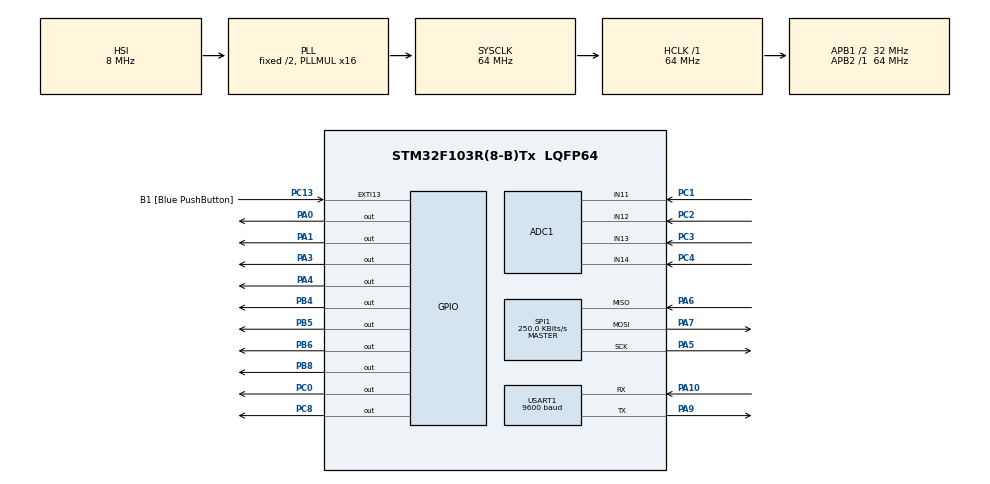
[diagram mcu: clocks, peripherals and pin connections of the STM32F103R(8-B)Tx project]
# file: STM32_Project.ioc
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ADC1.Channel-1\#ChannelRegularConversion=ADC_CHANNEL_11
ADC1.Channel-2\#ChannelRegularConversion=ADC_CHANNEL_12
ADC1.Channel-3\#ChannelRegularConversion=ADC_CHANNEL_13
ADC1.Channel-4\#ChannelRegularConversion=ADC_CHANNEL_14
ADC1.ContinuousConvMode=ENABLE
ADC1.NbrOfConversion=4
ADC1.NbrOfConversionFlag=1
ADC1.Rank-1\#ChannelRegularConversion=1
ADC1.Rank-2\#ChannelRegularConversion=2
ADC1.Rank-3\#ChannelRegularConversion=3
ADC1.Rank-4\#ChannelRegularConversion=4
ADC1.SamplingTime-1\#ChannelRegularConversion=ADC_SAMPLETIME_13CYCLES_5
ADC1.SamplingTime-2\#ChannelRegularConversion=ADC_SAMPLETIME_13CYCLES_5
ADC1.SamplingTime-3\#ChannelRegularConversion=ADC_SAMPLETIME_13CYCLES_5
ADC1.SamplingTime-4\#ChannelRegularConversion=ADC_SAMPLETIME_13CYCLES_5
ADC1.master=1
Mcu.Family=STM32F1
Mcu.Name=STM32F103R(8-B)Tx
Mcu.Package=LQFP64
NVIC.EXTI15_10_IRQn=true\:0\:0\:false\:false\:true\:true\:true\:true
NVIC.PriorityGroup=NVIC_PRIORITYGROUP_4
PA0-WKUP.Signal=GPIO_Output
PA1.Signal=GPIO_Output
PA10.Mode=Asynchronous
PA10.Signal=USART1_RX
PA13.GPIO_Label=TMS
PA13.Mode=Serial_Wire
PA13.Signal=SYS_JTMS-SWDIO
PA14.GPIO_Label=TCK
PA14.Mode=Serial_Wire
PA14.Signal=SYS_JTCK-SWCLK
PA3.Signal=GPIO_Output
PA4.Signal=GPIO_Output
PA5.Mode=Full_Duplex_Master
PA5.Signal=SPI1_SCK
PA6.Mode=Full_Duplex_Master
PA6.Signal=SPI1_MISO
PA7.Mode=Full_Duplex_Master
PA7.Signal=SPI1_MOSI
PA9.Mode=Asynchronous
PA9.Signal=USART1_TX
PB3.GPIO_Label=SWO
PB3.Signal=SYS_JTDO-TRACESWO
PB4.Signal=GPIO_Output
PB5.Signal=GPIO_Output
PB6.Signal=GPIO_Output
PB8.Signal=GPIO_Output
PC0.Signal=GPIO_Output
PC1.Signal=ADCx_IN11
PC13-TAMPER-RTC.GPIO_Label=B1 [Blue PushButton]
PC13-TAMPER-RTC.GPIO_PuPd=GPIO_NOPULL
PC13-TAMPER-RTC.Signal=GPXTI13
PC14-OSC32_IN.Mode=LSE-External-Oscillator
PC14-OSC32_IN.Signal=RCC_OSC32_IN
PC15-OSC32_OUT.Mode=LSE-External-Oscillator
PC15-OSC32_OUT.Signal=RCC_OSC32_OUT
PC2.Signal=ADCx_IN12
PC3.Signal=ADCx_IN13
PC4.Signal=ADCx_IN14
PC8.Signal=GPIO_Output
PD0-OSC_IN.Mode=HSE-External-Clock-Source
PD0-OSC_IN.Signal=RCC_OSC_IN
PD1-OSC_OUT.Mode=HSE-External-Clock-Source
PD1-OSC_OUT.Signal=RCC_OSC_OUT
ProjectManager.HeapSize=0x200
ProjectManager.StackSize=0x400
ProjectManager.TargetToolchain=STM32CubeIDE
RCC.ADCPresc=RCC_ADCPCLK2_DIV8
RCC.AHBFreq_Value=64000000
RCC.APB1CLKDivider=RCC_HCLK_DIV2
RCC.APB1Freq_Value=32000000
RCC.APB1TimFreq_Value=64000000
RCC.APB2Freq_Value=64000000
RCC.APB2TimFreq_Value=64000000
RCC.HCLKFreq_Value=64000000
RCC.PLLMUL=RCC_PLL_MUL16
RCC.RTCClockSelection=RCC_RTCCLKSOURCE_LSE
RCC.SYSCLKFreq_VALUE=64000000
RCC.SYSCLKSource=RCC_SYSCLKSOURCE_PLLCLK
RCC.USBFreq_Value=64000000
SH.ADCx_IN11.0=ADC1_IN11,IN11
SH.ADCx_IN12.0=ADC1_IN12,IN12
SH.ADCx_IN13.0=ADC1_IN13,IN13
SH.ADCx_IN14.0=ADC1_IN14,IN14
SPI1.BaudRatePrescaler=SPI_BAUDRATEPRESCALER_256
SPI1.CalculateBaudRate=250.0 KBits/s
SPI1.Direction=SPI_DIRECTION_2LINES
SPI1.Mode=SPI_MODE_MASTER
SPI1.VirtualType=VM_MASTER
USART1.BaudRate=9600
USART1.VirtualMode=VM_ASYNC
board=NUCLEO-F103RB

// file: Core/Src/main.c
/* USER CODE BEGIN Header */
/**
* main.c
*
* DESCRIPTION:
* This program is responsible for receiving wireless communication data from the
* wearable vitals monitor, as well as sweeping the 7x4 pressure sensor array
* using the on-board ADC. Once all of this data is collected, the program
* organizes the data and transmits it over UART to the Raspberry Pi.
*
* AUTHOR: Ayden Mack 200405410
*/
/* USER CODE END Header */
#include "main.h"

/* USER CODE BEGIN Includes */
#include "usr/nRF24L01.h"
#include "usr/adc.h"
#include "usr/gpio.h"
/* USER CODE END Includes */

 ADC_HandleTypeDef hadc1;

SPI_HandleTypeDef hspi1;

UART_HandleTypeDef huart1;

void SystemClock_Config(void);
static void MX_GPIO_Init(void);
static void MX_SPI1_Init(void);
static void MX_ADC1_Init(void);
static void MX_USART1_UART_Init(void);

/* USER CODE BEGIN 0 */
//Define address for nRF24L01 channel
uint8_t rx_address[] = {0xE6,0xE6,0xE6,0xE6,0xE6};

//Data buffers
uint8_t rx_data[32];
uint8_t tx_data[37];
uint16_t adc_raw[7][4];

//Flag to show if wireless data has been received
uint8_t rx_flag = 0;
/* USER CODE END 0 */

int main(void)
{

  /* MCU Configuration--------------------------------------------------------*/

  /* Reset of all peripherals, Initializes the Flash interface and the Systick. */
  HAL_Init();

  /* Configure the system clock */
  SystemClock_Config();

  /* Initialize all configured peripherals */
  MX_GPIO_Init();
  MX_SPI1_Init();
  MX_ADC1_Init();
  MX_USART1_UART_Init();
  /* USER CODE BEGIN 2 */
  //Configure all rows of the pressure mat to be input (high impedance)
  GPIO_config(GPIOA, GPIO_PIN_0, GPIO_MODE_INPUT, GPIO_NOPULL);
  GPIO_config(GPIOA, GPIO_PIN_1, GPIO_MODE_INPUT, GPIO_NOPULL);
  GPIO_config(GPIOC, GPIO_PIN_0, GPIO_MODE_INPUT, GPIO_NOPULL);
  GPIO_config(GPIOB, GPIO_PIN_8, GPIO_MODE_INPUT, GPIO_NOPULL);
  GPIO_config(GPIOB, GPIO_PIN_4, GPIO_MODE_INPUT, GPIO_NOPULL);
  GPIO_config(GPIOB, GPIO_PIN_5, GPIO_MODE_INPUT, GPIO_NOPULL);
  GPIO_config(GPIOB, GPIO_PIN_6, GPIO_MODE_INPUT, GPIO_NOPULL);

  //Initialize wireless comms
  nrf24_Init();
  nrf24_RxMode(rx_address, 10);
  /* USER CODE END 2 */

  /* Infinite loop */
  while (1)
  {

    /* USER CODE BEGIN 3 */

	  /*
	   * Wireless comms code
	   */
	  //Check if data is waiting and add to the buffer if so
	  if(isDataAvailable(1))
	  {
		  nrf24_Receive(rx_data);
		  HAL_GPIO_WritePin(GPIOC, GPIO_PIN_8, GPIO_PIN_SET);	//Light LED to indicate
		  	  	  	  	  	  	  	  	  	  	  	  	  	  	//data has been received
		  rx_flag = 1;
	  }
	  HAL_Delay(100);
	  HAL_GPIO_WritePin(GPIOC, GPIO_PIN_8, GPIO_PIN_RESET);

	  /*
	   * PRESSURE MAT ROW #1
	   */
	  GPIO_config(GPIOA, GPIO_PIN_0, GPIO_MODE_OUTPUT_PP, GPIO_NOPULL);
	  HAL_GPIO_WritePin(GPIOA, GPIO_PIN_0, GPIO_PIN_RESET);

	  //COLUMN #1
	  ADC_Select_CH11();
	  HAL_ADC_Start(&hadc1);
	  HAL_ADC_PollForConversion(&hadc1, HAL_MAX_DELAY);
	  adc_raw[0][0] = HAL_ADC_GetValue(&hadc1);
	  HAL_ADC_Stop(&hadc1);

	  //COLUMN #2
	  ADC_Select_CH12();
	  HAL_ADC_Start(&hadc1);
	  HAL_ADC_PollForConversion(&hadc1, HAL_MAX_DELAY);
	  adc_raw[0][1] = HAL_ADC_GetValue(&hadc1);
	  HAL_ADC_Stop(&hadc1);

	  //COLUMN #3
	  ADC_Select_CH13();
	  HAL_ADC_Start(&hadc1);
	  HAL_ADC_PollForConversion(&hadc1, HAL_MAX_DELAY);
	  adc_raw[0][2] = HAL_ADC_GetValue(&hadc1);
	  HAL_ADC_Stop(&hadc1);

	  //COLUMN #4
	  ADC_Select_CH14();
	  HAL_ADC_Start(&hadc1);
	  HAL_ADC_PollForConversion(&hadc1, HAL_MAX_DELAY);
	  adc_raw[0][3] = HAL_ADC_GetValue(&hadc1);
	  HAL_ADC_Stop(&hadc1);
	  GPIO_config(GPIOA, GPIO_PIN_0, GPIO_MODE_INPUT, GPIO_NOPULL);

	  /*
	   * PRESSURE MAT ROW #2
	   */
	  GPIO_config(GPIOA, GPIO_PIN_1, GPIO_MODE_OUTPUT_PP, GPIO_NOPULL);
	  HAL_GPIO_WritePin(GPIOA, GPIO_PIN_1, GPIO_PIN_RESET);

	  //COLUMN #1
	  ADC_Select_CH11();
	  HAL_ADC_Start(&hadc1);
	  HAL_ADC_PollForConversion(&hadc1, HAL_MAX_DELAY);
	  adc_raw[1][0] = HAL_ADC_GetValue(&hadc1);
	  HAL_ADC_Stop(&hadc1);

	  //COLUMN #2
	  ADC_Select_CH12();
	  HAL_ADC_Start(&hadc1);
	  HAL_ADC_PollForConversion(&hadc1, HAL_MAX_DELAY);
	  adc_raw[1][1] = HAL_ADC_GetValue(&hadc1);
	  HAL_ADC_Stop(&hadc1);

	  //COLUMN #3
	  ADC_Select_CH13();
	  HAL_ADC_Start(&hadc1);
	  HAL_ADC_PollForConversion(&hadc1, HAL_MAX_DELAY);
	  adc_raw[1][2] = HAL_ADC_GetValue(&hadc1);
	  HAL_ADC_Stop(&hadc1);

	  //COLUMN #4
	  ADC_Select_CH14();
	  HAL_ADC_Start(&hadc1);
	  HAL_ADC_PollForConversion(&hadc1, HAL_MAX_DELAY);
	  adc_raw[1][3] = HAL_ADC_GetValue(&hadc1);
	  HAL_ADC_Stop(&hadc1);
	  GPIO_config(GPIOA, GPIO_PIN_1, GPIO_MODE_INPUT, GPIO_NOPULL);

	  /*
	   * PRESSURE MAT ROW #3
	   */
	  GPIO_config(GPIOC, GPIO_PIN_0, GPIO_MODE_OUTPUT_PP, GPIO_NOPULL);
	  HAL_GPIO_WritePin(GPIOC, GPIO_PIN_0, GPIO_PIN_RESET);

	  //COLUMN #1
	  ADC_Select_CH11();
	  HAL_ADC_Start(&hadc1);
	  HAL_ADC_PollForConversion(&hadc1, HAL_MAX_DELAY);
	  adc_raw[2][0] = HAL_ADC_GetValue(&hadc1);
	  HAL_ADC_Stop(&hadc1);

	  //COLUMN #2
	  ADC_Select_CH12();
	  HAL_ADC_Start(&hadc1);
	  HAL_ADC_PollForConversion(&hadc1, HAL_MAX_DELAY);
	  adc_raw[2][1] = HAL_ADC_GetValue(&hadc1);
	  HAL_ADC_Stop(&hadc1);

	  //COLUMN #3
	  ADC_Select_CH13();
	  HAL_ADC_Start(&hadc1);
	  HAL_ADC_PollForConversion(&hadc1, HAL_MAX_DELAY);
	  adc_raw[2][2] = HAL_ADC_GetValue(&hadc1);
	  HAL_ADC_Stop(&hadc1);

	  //COLUMN #4
	  ADC_Select_CH14();
	  HAL_ADC_Start(&hadc1);
	  HAL_ADC_PollForConversion(&hadc1, HAL_MAX_DELAY);
	  adc_raw[2][3] = HAL_ADC_GetValue(&hadc1);
	  HAL_ADC_Stop(&hadc1);
	  GPIO_config(GPIOC, GPIO_PIN_0, GPIO_MODE_INPUT, GPIO_NOPULL);

	  /*
	   * PRESSURE MAT ROW #4
	   */
	  GPIO_config(GPIOB, GPIO_PIN_8, GPIO_MODE_OUTPUT_PP, GPIO_NOPULL);
	  HAL_GPIO_WritePin(GPIOB, GPIO_PIN_8, GPIO_PIN_RESET);

	  //COLUMN #1
	  ADC_Select_CH11();
	  HAL_ADC_Start(&hadc1);
	  HAL_ADC_PollForConversion(&hadc1, HAL_MAX_DELAY);
	  adc_raw[3][0] = HAL_ADC_GetValue(&hadc1);
	  HAL_ADC_Stop(&hadc1);

	  //COLUMN #2
	  ADC_Select_CH12();
	  HAL_ADC_Start(&hadc1);
	  HAL_ADC_PollForConversion(&hadc1, HAL_MAX_DELAY);
	  adc_raw[3][1] = HAL_ADC_GetValue(&hadc1);
	  HAL_ADC_Stop(&hadc1);

	  //COLUMN #3
	  ADC_Select_CH13();
	  HAL_ADC_Start(&hadc1);
	  HAL_ADC_PollForConversion(&hadc1, HAL_MAX_DELAY);
	  adc_raw[3][2] = HAL_ADC_GetValue(&hadc1);
	  HAL_ADC_Stop(&hadc1);

	  //COLUMN #4
	  ADC_Select_CH14();
	  HAL_ADC_Start(&hadc1);
	  HAL_ADC_PollForConversion(&hadc1, HAL_MAX_DELAY);
	  adc_raw[3][3] = HAL_ADC_GetValue(&hadc1);
	  HAL_ADC_Stop(&hadc1);
	  GPIO_config(GPIOB, GPIO_PIN_8, GPIO_MODE_INPUT, GPIO_NOPULL);

	  /*
	   * PRESSURE MAT ROW #5
	   */
	  GPIO_config(GPIOB, GPIO_PIN_4, GPIO_MODE_OUTPUT_PP, GPIO_NOPULL);
	  HAL_GPIO_WritePin(GPIOB, GPIO_PIN_4, GPIO_PIN_RESET);

	  //COLUMN #1
	  ADC_Select_CH11();
	  HAL_ADC_Start(&hadc1);
	  HAL_ADC_PollForConversion(&hadc1, HAL_MAX_DELAY);
	  adc_raw[4][0] = HAL_ADC_GetValue(&hadc1);
	  HAL_ADC_Stop(&hadc1);

	  //COLUMN #2
	  ADC_Select_CH12();
	  HAL_ADC_Start(&hadc1);
	  HAL_ADC_PollForConversion(&hadc1, HAL_MAX_DELAY);
	  adc_raw[4][1] = HAL_ADC_GetValue(&hadc1);
	  HAL_ADC_Stop(&hadc1);

	  //COLUMN #3
	  ADC_Select_CH13();
	  HAL_ADC_Start(&hadc1);
	  HAL_ADC_PollForConversion(&hadc1, HAL_MAX_DELAY);
	  adc_raw[4][2] = HAL_ADC_GetValue(&hadc1);
	  HAL_ADC_Stop(&hadc1);

	  //COLUMN #4
	  ADC_Select_CH14();
	  HAL_ADC_Start(&hadc1);
	  HAL_ADC_PollForConversion(&hadc1, HAL_MAX_DELAY);
	  adc_raw[4][3] = HAL_ADC_GetValue(&hadc1);
	  HAL_ADC_Stop(&hadc1);
	  GPIO_config(GPIOB, GPIO_PIN_4, GPIO_MODE_INPUT, GPIO_NOPULL);

	  /*
	   * PRESSURE MAT ROW #6
	   */
	  GPIO_config(GPIOB, GPIO_PIN_5, GPIO_MODE_OUTPUT_PP, GPIO_NOPULL);
	  HAL_GPIO_WritePin(GPIOB, GPIO_PIN_5, GPIO_PIN_RESET);

	  //COLUMN #1
	  ADC_Select_CH11();
	  HAL_ADC_Start(&hadc1);
	  HAL_ADC_PollForConversion(&hadc1, HAL_MAX_DELAY);
	  adc_raw[5][0] = HAL_ADC_GetValue(&hadc1);
	  HAL_ADC_Stop(&hadc1);

	  //COLUMN #2
	  ADC_Select_CH12();
	  HAL_ADC_Start(&hadc1);
	  HAL_ADC_PollForConversion(&hadc1, HAL_MAX_DELAY);
	  adc_raw[5][1] = HAL_ADC_GetValue(&hadc1);
	  HAL_ADC_Stop(&hadc1);

	  //COLUMN #3
	  ADC_Select_CH13();
	  HAL_ADC_Start(&hadc1);
	  HAL_ADC_PollForConversion(&hadc1, HAL_MAX_DELAY);
	  adc_raw[5][2] = HAL_ADC_GetValue(&hadc1);
	  HAL_ADC_Stop(&hadc1);

	  //COLUMN #4
	  ADC_Select_CH14();
	  HAL_ADC_Start(&hadc1);
	  HAL_ADC_PollForConversion(&hadc1, HAL_MAX_DELAY);
	  adc_raw[5][3] = HAL_ADC_GetValue(&hadc1);
	  HAL_ADC_Stop(&hadc1);
	  GPIO_config(GPIOB, GPIO_PIN_5, GPIO_MODE_INPUT, GPIO_NOPULL);

	  /*
	   * PRESSURE MAT ROW #7
	   */
	  GPIO_config(GPIOB, GPIO_PIN_6, GPIO_MODE_OUTPUT_PP, GPIO_NOPULL);
	  HAL_GPIO_WritePin(GPIOB, GPIO_PIN_6, GPIO_PIN_RESET);

	  //COLUMN #1
	  ADC_Select_CH11();
	  HAL_ADC_Start(&hadc1);
	  HAL_ADC_PollForConversion(&hadc1, HAL_MAX_DELAY);
	  adc_raw[6][0] = HAL_ADC_GetValue(&hadc1);
	  HAL_ADC_Stop(&hadc1);

	  //COLUMN #2
	  ADC_Select_CH12();
	  HAL_ADC_Start(&hadc1);
	  HAL_ADC_PollForConversion(&hadc1, HAL_MAX_DELAY);
	  adc_raw[6][1] = HAL_ADC_GetValue(&hadc1);
	  HAL_ADC_Stop(&hadc1);

	  //COLUMN #3
	  ADC_Select_CH13();
	  HAL_ADC_Start(&hadc1);
	  HAL_ADC_PollForConversion(&hadc1, HAL_MAX_DELAY);
	  adc_raw[6][2] = HAL_ADC_GetValue(&hadc1);
	  HAL_ADC_Stop(&hadc1);

	  //COLUMN #4
	  ADC_Select_CH14();
	  HAL_ADC_Start(&hadc1);
	  HAL_ADC_PollForConversion(&hadc1, HAL_MAX_DELAY);
	  adc_raw[6][3] = HAL_ADC_GetValue(&hadc1);
	  HAL_ADC_Stop(&hadc1);
	  GPIO_config(GPIOB, GPIO_PIN_6, GPIO_MODE_INPUT, GPIO_NOPULL);

	  /*
	   * Data organization
	   */
	  //If data received from wireless vitals monitor, add it to Tx buffer
	  if(rx_flag)
	  {
		  for(int i = 0; i < 7; i++)
		  {
			  tx_data[i] = rx_data[i];
		  }
		  tx_data[7] = ' ';
	  }
	  //If no data received from wireless vitals monitor, fill first 8 spaces of Tx
	  //buffer with spaces
	  else
	  {
		  for(int i = 0; i < 8; i++)
		  {
			  tx_data[i] = ' ';
		  }
	  }
	  //Add pressure mat data to Tx buffer
	  for(int i = 0; i < NUM_ROWS; i++)
	  {
		  for(int j = 0; j < NUM_COLS; j++)
		  {
			  //Update tx_data buffer with data from pressure sensors:
			  //If incoming voltage less than 1V on any sensor, a baby is present
			  if(adc_raw[i][j] < 1000)
			  {
				  tx_data[8 + (NUM_COLS*i) + j] = '1';
			  }
			  else
			  {
				  tx_data[8 + (NUM_COLS*i) + j] = '0';
			  }
		  }
	  }
	  tx_data[36] = '\n';

	  //Transmit data to Raspberry Pi
	  HAL_UART_Transmit(&huart1,tx_data,sizeof(tx_data),1000);
	  rx_flag = 0;
	  HAL_Delay(200);
  }
  /* USER CODE END 3 */
}

void SystemClock_Config(void)
{
  RCC_OscInitTypeDef RCC_OscInitStruct = {0};
  RCC_ClkInitTypeDef RCC_ClkInitStruct = {0};
  RCC_PeriphCLKInitTypeDef PeriphClkInit = {0};

  /** Initializes the RCC Oscillators according to the specified parameters
  * in the RCC_OscInitTypeDef structure.
  */
  RCC_OscInitStruct.OscillatorType = RCC_OSCILLATORTYPE_HSI;
  RCC_OscInitStruct.HSIState = RCC_HSI_ON;
  RCC_OscInitStruct.HSICalibrationValue = RCC_HSICALIBRATION_DEFAULT;
  RCC_OscInitStruct.PLL.PLLState = RCC_PLL_ON;
  RCC_OscInitStruct.PLL.PLLSource = RCC_PLLSOURCE_HSI_DIV2;
  RCC_OscInitStruct.PLL.PLLMUL = RCC_PLL_MUL16;
  if (HAL_RCC_OscConfig(&RCC_OscInitStruct) != HAL_OK)
  {
    Error_Handler();
  }

  /** Initializes the CPU, AHB and APB buses clocks
  */
  RCC_ClkInitStruct.ClockType = RCC_CLOCKTYPE_HCLK|RCC_CLOCKTYPE_SYSCLK
                              |RCC_CLOCKTYPE_PCLK1|RCC_CLOCKTYPE_PCLK2;
  RCC_ClkInitStruct.SYSCLKSource = RCC_SYSCLKSOURCE_PLLCLK;
  RCC_ClkInitStruct.AHBCLKDivider = RCC_SYSCLK_DIV1;
  RCC_ClkInitStruct.APB1CLKDivider = RCC_HCLK_DIV2;
  RCC_ClkInitStruct.APB2CLKDivider = RCC_HCLK_DIV1;

  if (HAL_RCC_ClockConfig(&RCC_ClkInitStruct, FLASH_LATENCY_2) != HAL_OK)
  {
    Error_Handler();
  }
  PeriphClkInit.PeriphClockSelection = RCC_PERIPHCLK_ADC;
  PeriphClkInit.AdcClockSelection = RCC_ADCPCLK2_DIV8;
  if (HAL_RCCEx_PeriphCLKConfig(&PeriphClkInit) != HAL_OK)
  {
    Error_Handler();
  }
}

static void MX_SPI1_Init(void)
{

  /* SPI1 parameter configuration*/
  hspi1.Instance = SPI1;
  hspi1.Init.Mode = SPI_MODE_MASTER;
  hspi1.Init.Direction = SPI_DIRECTION_2LINES;
  hspi1.Init.DataSize = SPI_DATASIZE_8BIT;
  hspi1.Init.CLKPolarity = SPI_POLARITY_LOW;
  hspi1.Init.CLKPhase = SPI_PHASE_1EDGE;
  hspi1.Init.NSS = SPI_NSS_SOFT;
  hspi1.Init.BaudRatePrescaler = SPI_BAUDRATEPRESCALER_256;
  hspi1.Init.FirstBit = SPI_FIRSTBIT_MSB;
  hspi1.Init.TIMode = SPI_TIMODE_DISABLE;
  hspi1.Init.CRCCalculation = SPI_CRCCALCULATION_DISABLE;
  hspi1.Init.CRCPolynomial = 10;
  if (HAL_SPI_Init(&hspi1) != HAL_OK)
  {
    Error_Handler();
  }

}

static void MX_USART1_UART_Init(void)
{

  huart1.Instance = USART1;
  huart1.Init.BaudRate = 9600;
  huart1.Init.WordLength = UART_WORDLENGTH_8B;
  huart1.Init.StopBits = UART_STOPBITS_1;
  huart1.Init.Parity = UART_PARITY_NONE;
  huart1.Init.Mode = UART_MODE_TX_RX;
  huart1.Init.HwFlowCtl = UART_HWCONTROL_NONE;
  huart1.Init.OverSampling = UART_OVERSAMPLING_16;
  if (HAL_UART_Init(&huart1) != HAL_OK)
  {
    Error_Handler();
  }

}

static void MX_GPIO_Init(void)
{
  GPIO_InitTypeDef GPIO_InitStruct = {0};

  /* GPIO Ports Clock Enable */
  __HAL_RCC_GPIOC_CLK_ENABLE();
  __HAL_RCC_GPIOD_CLK_ENABLE();
  __HAL_RCC_GPIOA_CLK_ENABLE();
  __HAL_RCC_GPIOB_CLK_ENABLE();

  /*Configure GPIO pin Output Level */
  HAL_GPIO_WritePin(GPIOC, GPIO_PIN_0|GPIO_PIN_8, GPIO_PIN_RESET);

  /*Configure GPIO pin Output Level */
  HAL_GPIO_WritePin(GPIOA, GPIO_PIN_0|GPIO_PIN_1|GPIO_PIN_3|GPIO_PIN_4, GPIO_PIN_RESET);

  /*Configure GPIO pin Output Level */
  HAL_GPIO_WritePin(GPIOB, GPIO_PIN_4|GPIO_PIN_5|GPIO_PIN_6|GPIO_PIN_8, GPIO_PIN_RESET);

  /*Configure GPIO pin : B1_Pin */
  GPIO_InitStruct.Pin = B1_Pin;
  GPIO_InitStruct.Mode = GPIO_MODE_IT_RISING;
  GPIO_InitStruct.Pull = GPIO_NOPULL;
  HAL_GPIO_Init(B1_GPIO_Port, &GPIO_InitStruct);

  /*Configure GPIO pins : PC0 PC8 */
  GPIO_InitStruct.Pin = GPIO_PIN_0|GPIO_PIN_8;
  GPIO_InitStruct.Mode = GPIO_MODE_OUTPUT_PP;
  GPIO_InitStruct.Pull = GPIO_NOPULL;
  GPIO_InitStruct.Speed = GPIO_SPEED_FREQ_LOW;
  HAL_GPIO_Init(GPIOC, &GPIO_InitStruct);

  /*Configure GPIO pins : PA0 PA1 PA3 PA4 */
  GPIO_InitStruct.Pin = GPIO_PIN_0|GPIO_PIN_1|GPIO_PIN_3|GPIO_PIN_4;
  GPIO_InitStruct.Mode = GPIO_MODE_OUTPUT_PP;
  GPIO_InitStruct.Pull = GPIO_NOPULL;
  GPIO_InitStruct.Speed = GPIO_SPEED_FREQ_LOW;
  HAL_GPIO_Init(GPIOA, &GPIO_InitStruct);

  /*Configure GPIO pins : PB4 PB5 PB6 PB8 */
  GPIO_InitStruct.Pin = GPIO_PIN_4|GPIO_PIN_5|GPIO_PIN_6|GPIO_PIN_8;
  GPIO_InitStruct.Mode = GPIO_MODE_OUTPUT_PP;
  GPIO_InitStruct.Pull = GPIO_NOPULL;
  GPIO_InitStruct.Speed = GPIO_SPEED_FREQ_LOW;
  HAL_GPIO_Init(GPIOB, &GPIO_InitStruct);

  /* EXTI interrupt init*/
  HAL_NVIC_SetPriority(EXTI15_10_IRQn, 0, 0);
  HAL_NVIC_EnableIRQ(EXTI15_10_IRQn);

}

/* USER CODE BEGIN 4 */
/**
  * @brief ADC1 Initialization Function
  * @param None
  * @retval None
  */
static void MX_ADC1_Init(void)
{
  /** Common config
  */
  hadc1.Instance = ADC1;
  hadc1.Init.ScanConvMode = ADC_SCAN_ENABLE;
  hadc1.Init.ContinuousConvMode = ENABLE;
  hadc1.Init.DiscontinuousConvMode = DISABLE;
  hadc1.Init.ExternalTrigConv = ADC_SOFTWARE_START;
  hadc1.Init.DataAlign = ADC_DATAALIGN_RIGHT;
  hadc1.Init.NbrOfConversion = 1;
  if (HAL_ADC_Init(&hadc1) != HAL_OK)
  {
    Error_Handler();
  }
}
/* USER CODE END 4 */

void Error_Handler(void)
{
  __disable_irq();
  while (1)
  {
  }
}
